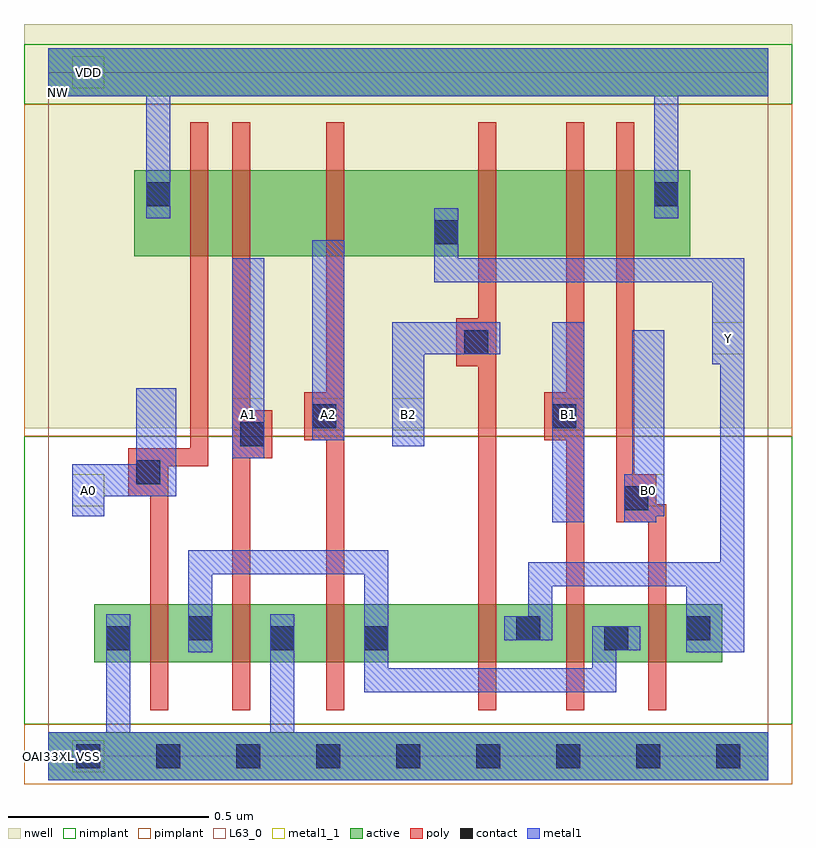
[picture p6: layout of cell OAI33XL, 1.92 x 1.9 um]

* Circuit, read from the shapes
.subckt OAI33XL A0 A1 A2 B0 B1 B2 NW VDD VSS Y
M1 n1 A0 VSS VSS nfet w=0.145u l=0.045u
M2 VSS A1 n1 VSS nfet w=0.145u l=0.045u
M3 n1 A2 VSS VSS nfet w=0.145u l=0.045u
M4 Y B2 n1 VSS nfet w=0.145u l=0.045u
M5 n1 B1 Y VSS nfet w=0.145u l=0.045u
M6 Y B0 n1 VSS nfet w=0.145u l=0.045u
M7 n2 A0 VDD NW pfet w=0.215u l=0.045u
M8 n3 A1 n2 NW pfet w=0.215u l=0.045u
M9 Y A2 n3 NW pfet w=0.215u l=0.045u
M10 n4 B2 Y NW pfet w=0.215u l=0.045u
M11 n5 B1 n4 NW pfet w=0.215u l=0.045u
M12 VDD B0 n5 NW pfet w=0.215u l=0.045u
.ends

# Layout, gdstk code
import gdstk
lib = gdstk.Library(unit=1e-6, precision=5e-10)
def R(c, l, rs):  # rectangles x0, y0, x1, y1
    for r in rs: c.add(gdstk.rectangle(r[:2], r[2:], *l))
def A(c, l, x, y, w, h, nx, ny, dx, dy):  # array of equal rectangles
    R(c, l, [(x+i*dx, y+j*dy, x+i*dx+w, y+j*dy+h) for i in range(nx) for j in range(ny)])
def P(c, l, *ps):  # polygons
    for p in ps: c.add(gdstk.Polygon(p, *l))
active = (1, 0)
nwell = (2, 0)
poly = (3, 0)
nimplant = (4, 0)
pimplant = (5, 0)
contact = (6, 0)
metal1 = (7, 0)
metal1_1 = (7, 1)
L63_0 = (63, 0)

oai33xl = lib.new_cell('OAI33XL')
R(oai33xl, active, [(0,-0.06,1.8,0.06), (0.115,0.235,1.685,0.38), (0.215,1.25,1.605,1.465), (0,1.65,1.8,1.77)])
R(oai33xl, nwell, [(-0.06,0.82,1.86,1.83), (0,1.61,0.05,1.71)])
P(oai33xl, poly, [(0.355,1.585),(0.4,1.585),(0.4,0.725),(0.3,0.725),(0.3,0.115),(0.255,0.115),(0.255,0.65),(0.2,0.65),(0.2,0.77),(0.355,0.77)],
  [(0.46,1.585),(0.505,1.585),(0.505,0.865),(0.56,0.865),(0.56,0.745),(0.505,0.745),(0.505,0.115),(0.46,0.115)],
  [(0.695,1.585),(0.74,1.585),(0.74,0.115),(0.695,0.115),(0.695,0.79),(0.64,0.79),(0.64,0.91),(0.695,0.91)],
  [(1.075,1.585),(1.12,1.585),(1.12,0.115),(1.075,0.115),(1.075,0.975),(1.02,0.975),(1.02,1.095),(1.075,1.095)],
  [(1.295,1.585),(1.34,1.585),(1.34,0.115),(1.295,0.115),(1.295,0.79),(1.24,0.79),(1.24,0.91),(1.295,0.91)],
  [(1.42,1.585),(1.465,1.585),(1.465,0.705),(1.52,0.705),(1.52,0.63),(1.545,0.63),(1.545,0.115),(1.5,0.115),(1.5,0.585),(1.42,0.585)])
R(oai33xl, nimplant, [(-0.06,0.08,1.86,0.8), (-0.06,1.63,1.86,1.78)])
R(oai33xl, pimplant, [(-0.06,-0.07,1.86,0.08), (-0.06,0.8,1.86,1.63)])
A(oai33xl, contact, 0.07, -0.03, 0.06, 0.06, 9, 1, 0.2, 0)
R(oai33xl, contact, [(0.145,0.265,0.205,0.325), (0.555,0.265,0.615,0.325), (0.79,0.265,0.85,0.325), (1.39,0.265,1.45,0.325), (0.35,0.29,0.41,0.35), (1.17,0.29,1.23,0.35), (1.595,0.29,1.655,0.35), (1.44,0.615,1.5,0.675), (0.22,0.68,0.28,0.74), (0.48,0.775,0.54,0.835), (0.66,0.82,0.72,0.88), (1.26,0.82,1.32,0.88), (1.04,1.005,1.1,1.065), (0.965,1.28,1.025,1.34), (0.245,1.375,0.305,1.435), (1.515,1.375,1.575,1.435)])
R(oai33xl, metal1, [(0.145,0.06,0.205,0.355), (0.555,0.06,0.615,0.355), (1.26,0.585,1.34,1.085), (0.46,0.745,0.54,1.245), (0.66,0.79,0.74,1.29), (0.245,1.345,0.305,1.65), (1.515,1.345,1.575,1.65)])
P(oai33xl, metal1, [(0.965,1.37),(1.025,1.37),(1.025,1.245),(1.74,1.245),(1.74,0.26),(1.595,0.26),(1.595,0.425),(1.26,0.425),(1.26,0.29),(1.14,0.29),(1.14,0.35),(1.2,0.35),(1.2,0.485),(1.68,0.485),(1.68,0.98),(1.66,0.98),(1.66,1.185),(0.965,1.185)],
  [(0.22,0.92),(0.32,0.92),(0.32,0.65),(0.14,0.65),(0.14,0.6),(0.06,0.6),(0.06,0.73),(0.22,0.73)],
  [(0.86,1.085),(1.13,1.085),(1.13,1.005),(0.94,1.005),(0.94,0.775),(0.86,0.775)],
  [(1.46,1.065),(1.54,1.065),(1.54,0.6),(1.52,0.6),(1.52,0.585),(1.44,0.585),(1.44,0.705),(1.46,0.705)],
  [(0.35,0.515),(0.85,0.515),(0.85,0.22),(1.36,0.22),(1.36,0.325),(1.48,0.325),(1.48,0.265),(1.42,0.265),(1.42,0.16),(0.79,0.16),(0.79,0.455),(0.41,0.455),(0.41,0.26),(0.35,0.26)])
A(oai33xl, metal1_1, 0.46, 0.815, 0.08, 0.08, 3, 1, 0.2, 0)
R(oai33xl, metal1_1, [(0.06,-0.04,0.14,0.04), (0.06,0.625,0.14,0.705), (1.46,0.625,1.54,0.705), (1.26,0.815,1.34,0.895), (1.66,1.005,1.74,1.085), (0.06,1.67,0.14,1.75)])
R(oai33xl, L63_0, [(0,0,1.8,1.71)])
oai33xl.add(gdstk.FlexPath([(0,0),(1.8,0)], 0.12, ends="flush", simple_path=True, layer=7, datatype=0))  # metal1
oai33xl.add(gdstk.FlexPath([(0,1.71),(1.8,1.71)], 0.12, ends="flush", simple_path=True, layer=7, datatype=0))  # metal1
oai33xl.add(gdstk.Label('Y', (1.7,1.045), layer=7, texttype=1))
oai33xl.add(gdstk.Label('A1', (0.5,0.855), layer=7, texttype=1))
oai33xl.add(gdstk.Label('B2', (0.9,0.855), layer=7, texttype=1))
oai33xl.add(gdstk.Label('A0', (0.1,0.665), layer=7, texttype=1))
oai33xl.add(gdstk.Label('A2', (0.7,0.855), layer=7, texttype=1))
oai33xl.add(gdstk.Label('B1', (1.3,0.855), layer=7, texttype=1))
oai33xl.add(gdstk.Label('B0', (1.5,0.665), layer=7, texttype=1))
oai33xl.add(gdstk.Label('VDD', (0.1,1.71), layer=7, texttype=1))
oai33xl.add(gdstk.Label('VSS', (0.1,0), layer=7, texttype=1))
oai33xl.add(gdstk.Label('VSS', (0.1,0), layer=7, texttype=1))
oai33xl.add(gdstk.Label('VDD', (0.1,1.71), layer=7, texttype=1))
oai33xl.add(gdstk.Label('B0', (1.5,0.665), layer=7, texttype=1))
oai33xl.add(gdstk.Label('B1', (1.3,0.855), layer=7, texttype=1))
oai33xl.add(gdstk.Label('A2', (0.7,0.855), layer=7, texttype=1))
oai33xl.add(gdstk.Label('A0', (0.1,0.665), layer=7, texttype=1))
oai33xl.add(gdstk.Label('B2', (0.9,0.855), layer=7, texttype=1))
oai33xl.add(gdstk.Label('A1', (0.5,0.855), layer=7, texttype=1))
oai33xl.add(gdstk.Label('Y', (1.7,1.045), layer=7, texttype=1))
oai33xl.add(gdstk.Label('OAI33XL', (0,0), layer=63, texttype=0))
oai33xl.add(gdstk.Label('NW', (0.025,1.66), layer=2, texttype=0))
oai33xl.add(gdstk.Label('NW', (0.025,1.63), layer=2, texttype=0))

lib.write_gds('OAI33XL.gds')
